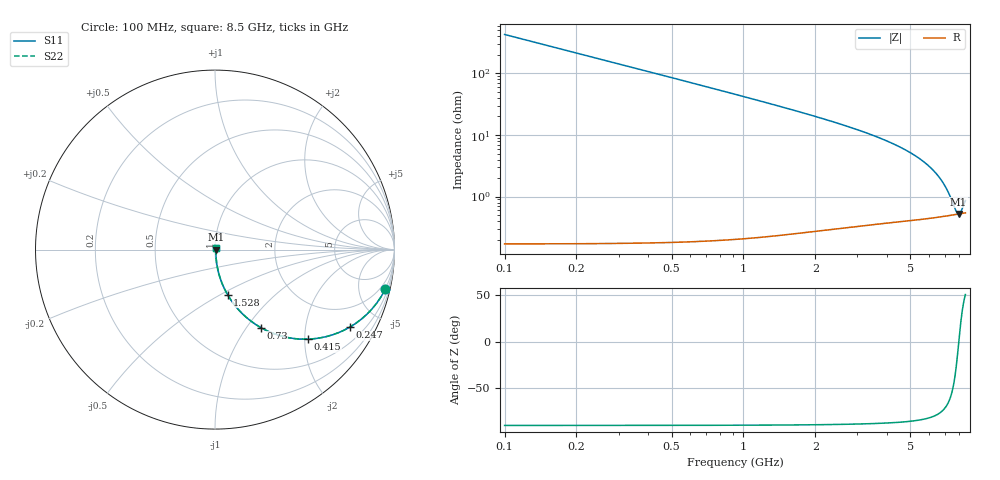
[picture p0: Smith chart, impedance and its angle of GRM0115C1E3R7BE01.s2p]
!Murata Part Number: GRM0115C1E3R7BE01
!These Parameters are Measured in Series Mode Connection
!Data Generated on Mar 30, 2021
!  o--ll--o
!Port1  Port2
!  o------o
!Operation Temp=25[degC], DC Bias Voltage=0[V]
!Freq. Start=100[MHz] Stop=9[GHz] 401[Steps]
# Hz S RI R 50
!Freq.(Hz) S11(Real) S11(Imag) S21(Real) S21(Imag) S12(Real) S12(Imag) S22(Real) S22(Imag)
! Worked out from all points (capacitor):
!   401 points, 100 MHz to 8.5 GHz, reference 50 ohm
!   read as one part in series: C = 3.7 pF near 142 MHz
!   lowest |Z| = 522 mohm at 7.954 GHz (marker M1)
!   series resonance near 7.975 GHz, so ESL is about 110 pH
!   S11 on the Smith chart (normalised r, x): 100 MHz: 1.00, -8.60; 247 MHz: 1.00, -3.48; 415 MHz: 1.00, -2.07; 730 MHz: 1.00, -1.17; 1.528 GHz: 1.00, -0.54; 8.5 GHz: 1.01, +0.01
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1e8  0.9486 -0.2206  0.0514 0.2206  0.0514 0.2206  0.9486 -0.2206
1.84e8  0.845 -0.3616  0.155 0.3616  0.155 0.3616  0.845 -0.3616
2.47e8  0.7514 -0.4317  0.2486 0.4317  0.2486 0.4317  0.7514 -0.4317
3.31e8  0.627 -0.4829  0.373 0.4829  0.373 0.4829  0.627 -0.4829
4.15e8  0.5164 -0.4989  0.4836 0.4989  0.4836 0.4989  0.5164 -0.4989
5.62e8  0.3671 -0.4808  0.6329 0.4808  0.6329 0.4808  0.3671 -0.4808
7.3e8  0.2548 -0.4341  0.7452 0.4341  0.7452 0.4341  0.2548 -0.4341
8.77e8  0.1907 -0.3908  0.8093 0.3908  0.8093 0.3908  0.1907 -0.3908
1.045e9  0.1414 -0.3459  0.8586 0.3459  0.8586 0.3459  0.1414 -0.3459
1.507e9  0.0719 -0.2539  0.9281 0.2539  0.9281 0.2539  0.0719 -0.2539
1.528e9  0.07 -0.2507  0.93 0.2507  0.93 0.2507  0.07 -0.2507
2.137e9  0.0359 -0.1786  0.9641 0.1786  0.9641 0.1786  0.0359 -0.1786
2.914e9  0.0189 -0.1241  0.9811 0.1241  0.9811 0.1241  0.0189 -0.1241
4.3e9  0.00864 -0.0693  0.9914 0.0693  0.9914 0.0693  0.00864 -0.0693
5.707e9  0.00559 -0.0358  0.9944 0.0358  0.9944 0.0358  0.00559 -0.0358
6.505e9  0.00505 -0.0215  0.9949 0.0215  0.9949 0.0215  0.00505 -0.0215
7.114e9  0.00497 -0.012  0.995 0.012  0.995 0.012  0.00497 -0.012
7.744e9  0.0051 -0.00306  0.9949 0.00306  0.9949 0.00306  0.0051 -0.00306
7.849e9  0.00514 -0.00166  0.9949 0.00166  0.9949 0.00166  0.00514 -0.00166
7.954e9  0.00518 -0.000272  0.9948 0.000272  0.9948 0.000272  0.00518 -0.000272
8.143e9  0.00527 0.00217  0.9947 -0.00217  0.9947 -0.00217  0.00527 0.00217
8.5e9  0.00546 0.00661  0.9945 -0.00661  0.9945 -0.00661  0.00546 0.00661
